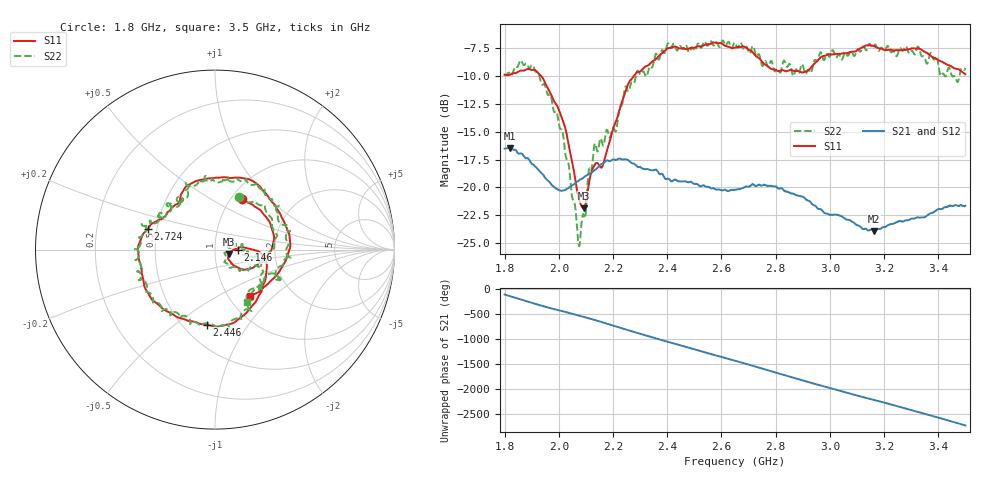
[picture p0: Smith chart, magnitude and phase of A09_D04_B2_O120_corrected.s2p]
! Created with skrf 1.9.0 (http://scikit-rf.org).
# Hz S RI R 50.0
!freq ReS11 ImS11 ReS21 ImS21 ReS12 ImS12 ReS22 ImS22
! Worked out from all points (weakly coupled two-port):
!   1601 points, 1.8 GHz to 3.5 GHz, reference 50 ohm
!   highest |S21| = -16.45 dB at 1.818 GHz (marker M1); lowest = -23.9 dB at 3.163 GHz (marker M2)
!   lowest |S11| = -21.9 dB at 2.091 GHz (marker M3), VSWR 1.17, Z = 58.2 - j2.8 ohm
!   |S11| at or under -10 dB: 1.935 GHz to 2.277 GHz (341.6 MHz wide, 16.2 % of centre)
!   |S22| runs from -25.3 to -6.8 dB; largest |S21 - S12| = 0.0025
!   S11 on the Smith chart (normalised r, x): 1.8 GHz: 1.12, +0.71; 2.146 GHz: 1.29, -0.00; 2.446 GHz: 0.65, -0.66; 2.724 GHz: 0.44, +0.12; 3.5 GHz: 1.26, -0.72
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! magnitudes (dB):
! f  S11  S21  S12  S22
! 1.8 GHz  -9.9  -16.5  -16.5  -9.9
! 1.818 GHz  -9.9  -16.4  -16.5  -9.7
! 1.903 GHz  -9.4  -17.9  -17.9  -9.0
! 1.968 GHz  -11.5  -19.6  -19.6  -11.6
! 2.015 GHz  -14.0  -20.3  -20.3  -15.1
! 2.072 GHz  -20.8  -19.4  -19.4  -25.0
! 2.084 GHz  -21.7  -19.2  -19.2  -23.2
! 2.091 GHz  -21.9  -19.1  -19.2  -22.4
! 2.113 GHz  -19.3  -18.8  -18.8  -18.3
! 2.146 GHz  -17.9  -18.2  -18.1  -16.5
! 2.209 GHz  -14.1  -17.5  -17.5  -15.0
! 2.26 GHz  -10.5  -17.6  -17.6  -11.2
! 2.367 GHz  -8.2  -18.7  -18.6  -8.5
! 2.446 GHz  -7.5  -19.5  -19.4  -7.3
! 2.65 GHz  -7.4  -20.2  -20.2  -7.0
! 2.724 GHz  -8.1  -19.9  -19.8  -7.9
! 2.934 GHz  -9.1  -21.5  -21.4  -9.5
! 3.163 GHz  -7.3  -23.9  -23.9  -7.3
! 3.217 GHz  -7.6  -23.4  -23.3  -7.4
! 3.326 GHz  -7.5  -22.7  -22.7  -7.3
! 3.468 GHz  -9.4  -21.6  -21.6  -10.5
! 3.5 GHz  -9.8  -21.6  -21.6  -9.3
